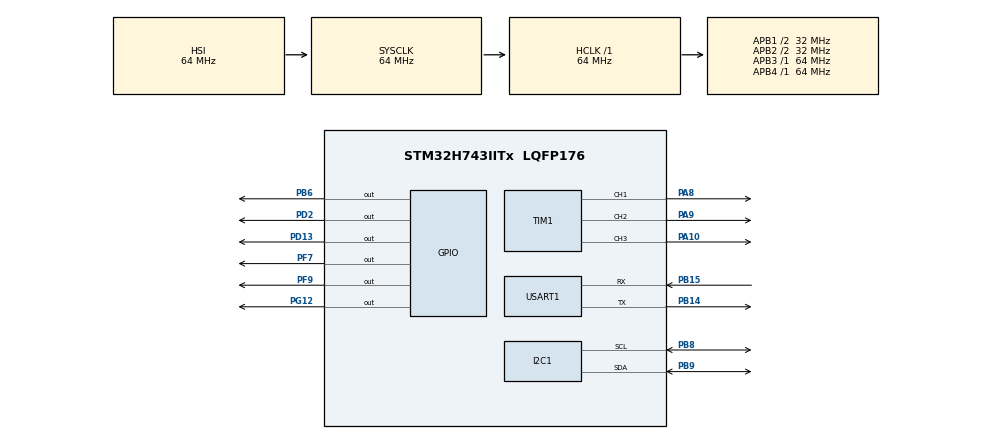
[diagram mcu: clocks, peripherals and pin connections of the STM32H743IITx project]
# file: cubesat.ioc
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CORTEX_M7.default_mode_Activation=1
FREERTOS.Tasks01=defaultTask,24,128,StartDefaultTask,Default,NULL,Dynamic,NULL,NULL
FREERTOS.configUSE_NEWLIB_REENTRANT=1
I2C1.CustomTiming=Disabled
I2C1.Timing=0x00707CBB
Mcu.Family=STM32H7
Mcu.Name=STM32H743IITx
Mcu.Package=LQFP176
NVIC.PriorityGroup=NVIC_PRIORITYGROUP_4
NVIC.TIM7_IRQn=true\:15\:0\:false\:false\:true\:false\:false\:true\:true
NVIC.TimeBase=TIM7_IRQn
NVIC.TimeBaseIP=TIM7
PA10.Signal=S_TIM1_CH3
PA13\ (JTMS/SWDIO).Mode=Serial_Wire
PA13\ (JTMS/SWDIO).Signal=DEBUG_JTMS-SWDIO
PA14\ (JTCK/SWCLK).Mode=Serial_Wire
PA14\ (JTCK/SWCLK).Signal=DEBUG_JTCK-SWCLK
PA8.Signal=S_TIM1_CH1
PA9.Signal=S_TIM1_CH2
PB14.Mode=Asynchronous
PB14.Signal=USART1_TX
PB15.Mode=Asynchronous
PB15.Signal=USART1_RX
PB6.Signal=GPIO_Output
PB8.Mode=I2C
PB8.Signal=I2C1_SCL
PB9.Mode=I2C
PB9.Signal=I2C1_SDA
PD13.Signal=GPIO_Output
PD2.Signal=GPIO_Output
PF7.Signal=GPIO_Output
PF9.Signal=GPIO_Output
PG12.Signal=GPIO_Output
PH0-OSC_IN\ (PH0).Mode=HSE-External-Oscillator
PH0-OSC_IN\ (PH0).Signal=RCC_OSC_IN
PH1-OSC_OUT\ (PH1).Mode=HSE-External-Oscillator
PH1-OSC_OUT\ (PH1).Signal=RCC_OSC_OUT
ProjectManager.HeapSize=0x200
ProjectManager.StackSize=0x400
ProjectManager.TargetToolchain=STM32CubeIDE
RCC.ADCFreq_Value=129000000
RCC.APB1Freq_Value=32000000
RCC.APB2Freq_Value=32000000
RCC.APB3Freq_Value=64000000
RCC.APB4Freq_Value=64000000
RCC.CortexFreq_Value=64000000
RCC.D2PPRE1=RCC_APB1_DIV2
RCC.D2PPRE2=RCC_APB2_DIV2
RCC.HCLKFreq_Value=64000000
RCC.SYSCLKFreq_VALUE=64000000
RCC.USBFreq_Value=129000000
SH.S_TIM1_CH1.0=TIM1_CH1,PWM Generation1 CH1
SH.S_TIM1_CH2.0=TIM1_CH2,PWM Generation2 CH2
SH.S_TIM1_CH3.0=TIM1_CH3,PWM Generation3 CH3
TIM1.Channel-PWM\ Generation1\ CH1=TIM_CHANNEL_1
TIM1.Channel-PWM\ Generation2\ CH2=TIM_CHANNEL_2
TIM1.Channel-PWM\ Generation3\ CH3=TIM_CHANNEL_3
USART1.VirtualMode-Asynchronous=VM_ASYNC
VP_FATFS_VS_Generic.Mode=User_defined
VP_FREERTOS_VS_CMSIS_V2.Mode=CMSIS_V2
VP_MEMORYMAP_VS_MEMORYMAP.Mode=CurAppReg
VP_SYS_VS_tim7.Mode=TIM7
VP_TIM1_VS_ClockSourceINT.Mode=Internal
board=custom

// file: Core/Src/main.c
/* USER CODE BEGIN Header */
/**
 ******************************************************************************
 * @file           : main.c
 * @brief          : Main program body
 ******************************************************************************
 * @attention
 *
 * Copyright (c) 2025 STMicroelectronics.
 * All rights reserved.
 *
 * This software is licensed under terms that can be found in the LICENSE file
 * in the root directory of this software component.
 * If no LICENSE file comes with this software, it is provided AS-IS.
 *
 ******************************************************************************
 */
/* USER CODE END Header */
#include "main.h"
#include "cmsis_os.h"
#include "fatfs.h"

/* USER CODE BEGIN Includes */
#include "bno055.h"
#include "kalman.h"
#include "mpu6050.h"
#include <stdio.h>
/* USER CODE END Includes */

/* USER CODE BEGIN PTD */
typedef struct {
  // Variables for PI
  float integ;
  float Kp_w;
  float Ki_w;
  float duty_prev;

  // Encoder variables
  float cpr;
  float dt;
  int last;
  float w;

  // Pins for motor driver
  GPIO_TypeDef *port1;
  uint16_t pin1;
  GPIO_TypeDef *port2;
  uint16_t pin2;
  int ch;
} wheel_t;
/* USER CODE END PTD */

/* USER CODE BEGIN PD */
#define TCA_ADDR (0x70u << 1)
#define MPU_ADDR (0x68u << 1)
#define BNO_ADDR (0x28u << 1)
#define MPU6050_CH (1u << 0)
#define BNO055_CH (1u << 1)
#define DUTY_MAX 0.25f
#define DUTY_SLEW 0.01f
/* USER CODE END PD */

I2C_HandleTypeDef hi2c1;

TIM_HandleTypeDef htim1;

UART_HandleTypeDef huart1;

/* Definitions for defaultTask */
osThreadId_t defaultTaskHandle;
const osThreadAttr_t defaultTask_attributes = {
    .name = "defaultTask",
    .stack_size = 2048 * 4,
    .priority = (osPriority_t)osPriorityNormal,
};

void SystemClock_Config(void);
static void MPU_Config(void);
static void MX_GPIO_Init(void);
static void MX_I2C1_Init(void);
static void MX_TIM1_Init(void);
static void MX_USART1_UART_Init(void);
void StartDefaultTask(void *argument);

/* USER CODE BEGIN 0 */

// Swap TCA Channel
static inline void tca_ch(uint8_t channel) {
  HAL_I2C_Master_Transmit(&hi2c1, (0x70u << 1), &channel, 1, 100);
}

// Get ARR for duty calculations
static inline uint32_t tim_get_arr(TIM_HandleTypeDef *htim) {
  return __HAL_TIM_GET_AUTORELOAD(htim);
}

// BNO055 Helper functions for read and write
static inline s8 bno055_i2c_read(uint8_t dev_addr, uint8_t reg_addr,
                                 uint8_t *reg_data, uint8_t sz) {
  if (HAL_I2C_Mem_Read(&hi2c1, dev_addr, reg_addr, I2C_MEMADD_SIZE_8BIT,
                       reg_data, sz, 500) == HAL_OK) {
    return 0;
  }
  return -1;
}

static inline s8 bno055_i2c_write(uint8_t dev_addr, uint8_t reg_addr,
                                  uint8_t *reg_data, uint8_t sz) {
  if (HAL_I2C_Mem_Write(&hi2c1, dev_addr, reg_addr, I2C_MEMADD_SIZE_8BIT,
                        reg_data, sz, 500) == HAL_OK) {
    return 0;
  }
  return -1;
}

// Get IMU values from both BNO055 and MPU6050 with redundancy
static inline void IMU(float *g[], float *m[], float *a[]) {
  struct bno055_accel_t accel = {0};
  struct bno055_gyro_t gyro = {0};
  struct bno055_mag_t mag = {0};
  bno055_read_accel_xyz(&accel);
  bno055_read_gyro_xyz(&gyro);
  bno055_read_mag_xyz(&mag);
  a[0] = (float)accel.x / 100.0f, a[1] = (float)accel.y / 100.0f,
  a[2] = (float)accel.z / 100.0f;
  g[0] = gyro.x, g[1] = gyro.y, g[2] = gyro.z;
  m[0] = mag.x / 16.0f, m[1] = mag.y / 16.0f, m[2] = mag.z / 16.0f;
}

// Wrap value to -pi, pi for attitude control
static inline float wrap_pi(float a) {
  while (a <= -M_PI)
    a += 2.0f * M_PI;
  while (a > M_PI)
    a -= 2.0f * M_PI;
  return a;
}

static inline void attitude_error(float q[4], float target_q[4], float error[3],
                                  float tau[3], float g[3], float Kp,
                                  float Kd) {
  float qc[4], qe[4];
  quat_conj(q, qc);     // Find conjugate of current quaternion, conj = inv
  quat_mul(qd, qc, qe); // Qerror = Qdesired cross Qcurrent^-1
  if (qe[0] < 0) {
    qe[0] = -qe[0];
    qe[1] = -qe[1];
    qe[2] = -qe[2];
    qe[3] = -qe[3];
  }
  // Convert Qerror to angle axis vector, multiply by 2 to get full angle
  e[0] = 2.0f * qe[1];
  e[1] = 2.0f * qe[2];
  e[2] = 2.0f * qe[3];

  // PD control in X, Y, Z axis
  tau[0] = -Kp * e[0] - Kd * w[0];
  tau[1] = -Kp * e[1] - Kd * w[1];
  tau[2] = -Kp * e[2] - Kd * w[2];
}

static inline void get_encoder() {}

static inline void wheel_speed(wheel_t *wheel, int enc_count) {
  int dcnt = enc_count - wheel->last;
  wheel->last = enc_count;
  float rev = (float)dcnt / wheel->cpr;
  float speed = rev * 2.0f * M_PI / wheel->dt;
  wheel->w = speed;
}

static inline void tb6612_control(wheel_t *w, int dir_fwd, float duty,
                                  uint32_t ch, uint32_t arr) {

  if (dir_fwd) {
    HAL_GPIO_WritePin(w->port1, w->pin1, GPIO_PIN_SET);
    HAL_GPIO_WritePin(w->port2, w->pin2, GPIO_PIN_RESET);
  } else {
    HAL_GPIO_WritePin(w->port1, w->pin1, GPIO_PIN_RESET);
    HAL_GPIO_WritePin(w->port2, w->pin2, GPIO_PIN_SET);
  }
  uint32_t pulse = (uint32_t)((arr + 1) * duty);
  __HAL_TIM_SET_COMPARE(&htim1, ch, pulse);
}

static inline void set_wheel(wheel_t *wheel, uint32_t ch, uint32_t arr,
                             float wheel_ref) {
  float error = wheel_ref - wheel->w;

  // Keep integral via Riemann Sum
  wheel->integ += wheel->Ki_w * err * wheel->dt;

  // Do PI control for u/torque/duty cycle
  float u = wheel->Kp_w * err + wheel->integ;

  // Find direction
  int dir = (u >= 0.0f);
  float duty = fabsf(u);

  // If duty is too large or needs to increment too much clamp it to avoid
  // unnecessary stress on the system
  if (duty > DUTY_MAX)
    duty = DUTY_MAX;

  // Find delta duty to ensure duty is not changing too quickly
  float dd = duty - wheel->duty_prev;
  if (dd > DUTY_SLEW)
    dd = DUTY_SLEW;
  if (dd < -DUTY_SLEW)
    dd = -DUTY_SLEW;
  duty = wheel->duty_prev + dd;
  wheel->duty_prev = duty;

  // Leaky integrator during saturation
  if (fabsf(u) > DUTY_MAX)
    wheel->integ *= 0.98f;

  tb6612_control(wheel, dir, ch, arr);
}
/* USER CODE END 0 */

int main(void) {

  /* MPU Configuration--------------------------------------------------------*/
  MPU_Config();

  /* MCU Configuration--------------------------------------------------------*/

  /* Reset of all peripherals, Initializes the Flash interface and the Systick.
   */
  HAL_Init();

  /* Configure the system clock */
  SystemClock_Config();

  /* USER CODE BEGIN SysInit */
  htim1.Init.Period = 65535;
  /* USER CODE END SysInit */

  /* Initialize all configured peripherals */
  MX_GPIO_Init();
  MX_I2C1_Init();
  MX_TIM1_Init();
  MX_USART1_UART_Init();
  MX_FATFS_Init();

  /* Init scheduler */
  osKernelInitialize();

  /* Create the thread(s) */
  /* creation of defaultTask */
  defaultTaskHandle =
      osThreadNew(StartDefaultTask, NULL, &defaultTask_attributes);

  /* Start scheduler */
  osKernelStart();

  /* We should never get here as control is now taken by the scheduler */

  /* Infinite loop */
  while (1) {

  }
}

void SystemClock_Config(void) {
  RCC_OscInitTypeDef RCC_OscInitStruct = {0};
  RCC_ClkInitTypeDef RCC_ClkInitStruct = {0};

  /** Supply configuration update enable
   */
  HAL_PWREx_ConfigSupply(PWR_LDO_SUPPLY);

  /** Configure the main internal regulator output voltage
   */
  __HAL_PWR_VOLTAGESCALING_CONFIG(PWR_REGULATOR_VOLTAGE_SCALE3);

  while (!__HAL_PWR_GET_FLAG(PWR_FLAG_VOSRDY)) {
  }

  /** Initializes the RCC Oscillators according to the specified parameters
   * in the RCC_OscInitTypeDef structure.
   */
  RCC_OscInitStruct.OscillatorType = RCC_OSCILLATORTYPE_HSI;
  RCC_OscInitStruct.HSIState = RCC_HSI_DIV1;
  RCC_OscInitStruct.HSICalibrationValue = RCC_HSICALIBRATION_DEFAULT;
  RCC_OscInitStruct.PLL.PLLState = RCC_PLL_NONE;
  if (HAL_RCC_OscConfig(&RCC_OscInitStruct) != HAL_OK) {
    Error_Handler();
  }

  /** Initializes the CPU, AHB and APB buses clocks
   */
  RCC_ClkInitStruct.ClockType = RCC_CLOCKTYPE_HCLK | RCC_CLOCKTYPE_SYSCLK |
                                RCC_CLOCKTYPE_PCLK1 | RCC_CLOCKTYPE_PCLK2 |
                                RCC_CLOCKTYPE_D3PCLK1 | RCC_CLOCKTYPE_D1PCLK1;
  RCC_ClkInitStruct.SYSCLKSource = RCC_SYSCLKSOURCE_HSI;
  RCC_ClkInitStruct.SYSCLKDivider = RCC_SYSCLK_DIV1;
  RCC_ClkInitStruct.AHBCLKDivider = RCC_HCLK_DIV1;
  RCC_ClkInitStruct.APB3CLKDivider = RCC_APB3_DIV1;
  RCC_ClkInitStruct.APB1CLKDivider = RCC_APB1_DIV2;
  RCC_ClkInitStruct.APB2CLKDivider = RCC_APB2_DIV2;
  RCC_ClkInitStruct.APB4CLKDivider = RCC_APB4_DIV1;

  if (HAL_RCC_ClockConfig(&RCC_ClkInitStruct, FLASH_LATENCY_1) != HAL_OK) {
    Error_Handler();
  }
}

static void MX_I2C1_Init(void) {

  hi2c1.Instance = I2C1;
  hi2c1.Init.Timing = 0x00707CBB;
  hi2c1.Init.OwnAddress1 = 0;
  hi2c1.Init.AddressingMode = I2C_ADDRESSINGMODE_7BIT;
  hi2c1.Init.DualAddressMode = I2C_DUALADDRESS_DISABLE;
  hi2c1.Init.OwnAddress2 = 0;
  hi2c1.Init.OwnAddress2Masks = I2C_OA2_NOMASK;
  hi2c1.Init.GeneralCallMode = I2C_GENERALCALL_DISABLE;
  hi2c1.Init.NoStretchMode = I2C_NOSTRETCH_DISABLE;
  if (HAL_I2C_Init(&hi2c1) != HAL_OK) {
    Error_Handler();
  }

  /** Configure Analogue filter
   */
  if (HAL_I2CEx_ConfigAnalogFilter(&hi2c1, I2C_ANALOGFILTER_ENABLE) != HAL_OK) {
    Error_Handler();
  }

  /** Configure Digital filter
   */
  if (HAL_I2CEx_ConfigDigitalFilter(&hi2c1, 0) != HAL_OK) {
    Error_Handler();
  }
}

static void MX_TIM1_Init(void) {

  TIM_ClockConfigTypeDef sClockSourceConfig = {0};
  TIM_MasterConfigTypeDef sMasterConfig = {0};
  TIM_OC_InitTypeDef sConfigOC = {0};
  TIM_BreakDeadTimeConfigTypeDef sBreakDeadTimeConfig = {0};

  htim1.Instance = TIM1;
  htim1.Init.Prescaler = 0;
  htim1.Init.CounterMode = TIM_COUNTERMODE_UP;
  htim1.Init.Period = 65535;
  htim1.Init.ClockDivision = TIM_CLOCKDIVISION_DIV1;
  htim1.Init.RepetitionCounter = 0;
  htim1.Init.AutoReloadPreload = TIM_AUTORELOAD_PRELOAD_DISABLE;
  if (HAL_TIM_Base_Init(&htim1) != HAL_OK) {
    Error_Handler();
  }
  sClockSourceConfig.ClockSource = TIM_CLOCKSOURCE_INTERNAL;
  if (HAL_TIM_ConfigClockSource(&htim1, &sClockSourceConfig) != HAL_OK) {
    Error_Handler();
  }
  if (HAL_TIM_PWM_Init(&htim1) != HAL_OK) {
    Error_Handler();
  }
  sMasterConfig.MasterOutputTrigger = TIM_TRGO_RESET;
  sMasterConfig.MasterOutputTrigger2 = TIM_TRGO2_RESET;
  sMasterConfig.MasterSlaveMode = TIM_MASTERSLAVEMODE_DISABLE;
  if (HAL_TIMEx_MasterConfigSynchronization(&htim1, &sMasterConfig) != HAL_OK) {
    Error_Handler();
  }
  sConfigOC.OCMode = TIM_OCMODE_PWM1;
  sConfigOC.Pulse = 0;
  sConfigOC.OCPolarity = TIM_OCPOLARITY_HIGH;
  sConfigOC.OCNPolarity = TIM_OCNPOLARITY_HIGH;
  sConfigOC.OCFastMode = TIM_OCFAST_DISABLE;
  sConfigOC.OCIdleState = TIM_OCIDLESTATE_RESET;
  sConfigOC.OCNIdleState = TIM_OCNIDLESTATE_RESET;
  if (HAL_TIM_PWM_ConfigChannel(&htim1, &sConfigOC, TIM_CHANNEL_1) != HAL_OK) {
    Error_Handler();
  }
  if (HAL_TIM_PWM_ConfigChannel(&htim1, &sConfigOC, TIM_CHANNEL_2) != HAL_OK) {
    Error_Handler();
  }
  if (HAL_TIM_PWM_ConfigChannel(&htim1, &sConfigOC, TIM_CHANNEL_3) != HAL_OK) {
    Error_Handler();
  }
  sBreakDeadTimeConfig.OffStateRunMode = TIM_OSSR_DISABLE;
  sBreakDeadTimeConfig.OffStateIDLEMode = TIM_OSSI_DISABLE;
  sBreakDeadTimeConfig.LockLevel = TIM_LOCKLEVEL_OFF;
  sBreakDeadTimeConfig.DeadTime = 0;
  sBreakDeadTimeConfig.BreakState = TIM_BREAK_DISABLE;
  sBreakDeadTimeConfig.BreakPolarity = TIM_BREAKPOLARITY_HIGH;
  sBreakDeadTimeConfig.BreakFilter = 0;
  sBreakDeadTimeConfig.Break2State = TIM_BREAK2_DISABLE;
  sBreakDeadTimeConfig.Break2Polarity = TIM_BREAK2POLARITY_HIGH;
  sBreakDeadTimeConfig.Break2Filter = 0;
  sBreakDeadTimeConfig.AutomaticOutput = TIM_AUTOMATICOUTPUT_DISABLE;
  if (HAL_TIMEx_ConfigBreakDeadTime(&htim1, &sBreakDeadTimeConfig) != HAL_OK) {
    Error_Handler();
  }
  HAL_TIM_MspPostInit(&htim1);
}

static void MX_USART1_UART_Init(void) {

  huart1.Instance = USART1;
  huart1.Init.BaudRate = 115200;
  huart1.Init.WordLength = UART_WORDLENGTH_8B;
  huart1.Init.StopBits = UART_STOPBITS_1;
  huart1.Init.Parity = UART_PARITY_NONE;
  huart1.Init.Mode = UART_MODE_TX_RX;
  huart1.Init.HwFlowCtl = UART_HWCONTROL_NONE;
  huart1.Init.OverSampling = UART_OVERSAMPLING_16;
  huart1.Init.OneBitSampling = UART_ONE_BIT_SAMPLE_DISABLE;
  huart1.Init.ClockPrescaler = UART_PRESCALER_DIV1;
  huart1.AdvancedInit.AdvFeatureInit = UART_ADVFEATURE_NO_INIT;
  if (HAL_UART_Init(&huart1) != HAL_OK) {
    Error_Handler();
  }
  if (HAL_UARTEx_SetTxFifoThreshold(&huart1, UART_TXFIFO_THRESHOLD_1_8) !=
      HAL_OK) {
    Error_Handler();
  }
  if (HAL_UARTEx_SetRxFifoThreshold(&huart1, UART_RXFIFO_THRESHOLD_1_8) !=
      HAL_OK) {
    Error_Handler();
  }
  if (HAL_UARTEx_DisableFifoMode(&huart1) != HAL_OK) {
    Error_Handler();
  }
}

static void MX_GPIO_Init(void) {
  GPIO_InitTypeDef GPIO_InitStruct = {0};

  /* GPIO Ports Clock Enable */
  __HAL_RCC_GPIOF_CLK_ENABLE();
  __HAL_RCC_GPIOH_CLK_ENABLE();
  __HAL_RCC_GPIOB_CLK_ENABLE();
  __HAL_RCC_GPIOD_CLK_ENABLE();
  __HAL_RCC_GPIOA_CLK_ENABLE();
  __HAL_RCC_GPIOG_CLK_ENABLE();

  /*Configure GPIO pin Output Level */
  HAL_GPIO_WritePin(GPIOF, GPIO_PIN_7 | GPIO_PIN_9, GPIO_PIN_RESET);

  /*Configure GPIO pin Output Level */
  HAL_GPIO_WritePin(GPIOD, GPIO_PIN_13 | GPIO_PIN_2, GPIO_PIN_RESET);

  /*Configure GPIO pin Output Level */
  HAL_GPIO_WritePin(GPIOG, GPIO_PIN_12, GPIO_PIN_RESET);

  /*Configure GPIO pin Output Level */
  HAL_GPIO_WritePin(GPIOB, GPIO_PIN_6, GPIO_PIN_RESET);

  /*Configure GPIO pins : PF7 PF9 */
  GPIO_InitStruct.Pin = GPIO_PIN_7 | GPIO_PIN_9;
  GPIO_InitStruct.Mode = GPIO_MODE_OUTPUT_PP;
  GPIO_InitStruct.Pull = GPIO_NOPULL;
  GPIO_InitStruct.Speed = GPIO_SPEED_FREQ_LOW;
  HAL_GPIO_Init(GPIOF, &GPIO_InitStruct);

  /*Configure GPIO pins : PD13 PD2 */
  GPIO_InitStruct.Pin = GPIO_PIN_13 | GPIO_PIN_2;
  GPIO_InitStruct.Mode = GPIO_MODE_OUTPUT_PP;
  GPIO_InitStruct.Pull = GPIO_NOPULL;
  GPIO_InitStruct.Speed = GPIO_SPEED_FREQ_LOW;
  HAL_GPIO_Init(GPIOD, &GPIO_InitStruct);

  /*Configure GPIO pin : PG12 */
  GPIO_InitStruct.Pin = GPIO_PIN_12;
  GPIO_InitStruct.Mode = GPIO_MODE_OUTPUT_PP;
  GPIO_InitStruct.Pull = GPIO_NOPULL;
  GPIO_InitStruct.Speed = GPIO_SPEED_FREQ_LOW;
  HAL_GPIO_Init(GPIOG, &GPIO_InitStruct);

  /*Configure GPIO pin : PB6 */
  GPIO_InitStruct.Pin = GPIO_PIN_6;
  GPIO_InitStruct.Mode = GPIO_MODE_OUTPUT_PP;
  GPIO_InitStruct.Pull = GPIO_NOPULL;
  GPIO_InitStruct.Speed = GPIO_SPEED_FREQ_LOW;
  HAL_GPIO_Init(GPIOB, &GPIO_InitStruct);

}

void StartDefaultTask(void *argument) {
  /* USER CODE BEGIN 5 */
  // Start PWM
  HAL_TIM_PWM_Start(&htim1, TIM_CHANNEL_1);
  HAL_TIM_PWM_Start(&htim1, TIM_CHANNEL_2);
  HAL_TIM_PWM_Start(&htim1, TIM_CHANNEL_3);
  uint32_t arr = __HAL_TIM_GET_AUTORELOAD(&htim1);

  // IMU data and Attitude control variables
  float a[3] = {0};
  float g[3] = {0};
  float m[3] = {0};
  float tau[3];
  float target_error[3];
  float Kp = 0.005f;
  float Kd = 0.005f;
  wheel x_wheel = {0};
  wheel y_wheel = {0};
  wheel z_wheel = {0};
  float enc_x;
  float enc_y;
  float enc_z;

  // Kalman Filter
  float target_q[4] = {1, 0, 0, 0};
  float P_est[6][6] = {0};
  Kalman k = {0};
  init_kalman(&k);

  // Set up BNO055 9-DOF IMU
  struct bno055_t bno;
  bno.dev_addr = BNO_ADDR;
  bno.bus_read = bno055_i2c_read;
  bno.bus_write = bno055_i2c_write;
  bno.delay_msec = osDelay;

  // Change TCA9548A(I2C Mux) to channel 0 for MPU config
  tca_ch(MPU6050_CH);
  mpuBegin(&hi2c1);

  // Change Mux to channel 1 for BNO config
  tca_ch(BNO055_CH);
  bno055_init(&bno);
  bno055_set_operation_mode(BNO055_OPERATION_MODE_AMG); // Get Raw A/M/G data

  for (;;) {
    IMU(g, m, a);                       // Grab measurement data
    kalman_predict(&k, g, P_est);       // Kalman filter prediction step
    kalman_correction(&k, a, m, P_est); // Kalman filter correction step
    g[0] = g[0] - k.b[0], g[1] = g[1] - k.b[1], g[2] = g[2] - k.b[2];
    attitude_control(k.q, target_q, target_error, tau, g, Kp,
                     Kd); // Find Tworld of the system via PD control
    // TODO: Add PI control for wheels and encoders
    // Read Encoder
    wheel_speed(&x_wheel, enc_x);
    wheel_speed(&y_wheel, enc_y);
    wheel_speed(&z_wheel, enc_z);
    set_wheel(&x_wheel, 1, arr, tau[0]);
    set_wheel(&y_wheel, 2, arr, tau[1]);
    set_wheel(&z_wheel, 3, arr, tau[2]);
    osDelay(2);
  }
  /* USER CODE END 5 */
}

/* MPU Configuration */

void MPU_Config(void) {
  MPU_Region_InitTypeDef MPU_InitStruct = {0};

  /* Disables the MPU */
  HAL_MPU_Disable();

  /** Initializes and configures the Region and the memory to be protected
   */
  MPU_InitStruct.Enable = MPU_REGION_ENABLE;
  MPU_InitStruct.Number = MPU_REGION_NUMBER0;
  MPU_InitStruct.BaseAddress = 0x0;
  MPU_InitStruct.Size = MPU_REGION_SIZE_4GB;
  MPU_InitStruct.SubRegionDisable = 0x87;
  MPU_InitStruct.TypeExtField = MPU_TEX_LEVEL0;
  MPU_InitStruct.AccessPermission = MPU_REGION_NO_ACCESS;
  MPU_InitStruct.DisableExec = MPU_INSTRUCTION_ACCESS_DISABLE;
  MPU_InitStruct.IsShareable = MPU_ACCESS_SHAREABLE;
  MPU_InitStruct.IsCacheable = MPU_ACCESS_NOT_CACHEABLE;
  MPU_InitStruct.IsBufferable = MPU_ACCESS_NOT_BUFFERABLE;

  HAL_MPU_ConfigRegion(&MPU_InitStruct);
  /* Enables the MPU */
  HAL_MPU_Enable(MPU_PRIVILEGED_DEFAULT);
}

void HAL_TIM_PeriodElapsedCallback(TIM_HandleTypeDef *htim) {
  if (htim->Instance == TIM7) {
    HAL_IncTick();
  }
}

void Error_Handler(void) {
  /* USER CODE BEGIN Error_Handler_Debug */
  /* User can add his own implementation to report the HAL error return state */
  __disable_irq();
  while (1) {
    return;
  }
  /* USER CODE END Error_Handler_Debug */
}

#ifdef USE_FULL_ASSERT
/**
 * @brief  Reports the name of the source file and the source line number
 *         where the assert_param error has occurred.
 * @param  file: pointer to the source file name
 * @param  line: assert_param error line source number
 * @retval None
 */
void assert_failed(uint8_t *file, uint32_t line) {
  /* USER CODE BEGIN 6 */
  /* User can add his own implementation to report the file name and line
     number, ex: printf("Wrong parameters value: file %s on line %d\r\n", file,
     line) */
  /* USER CODE END 6 */
}
#endif /* USE_FULL_ASSERT */
